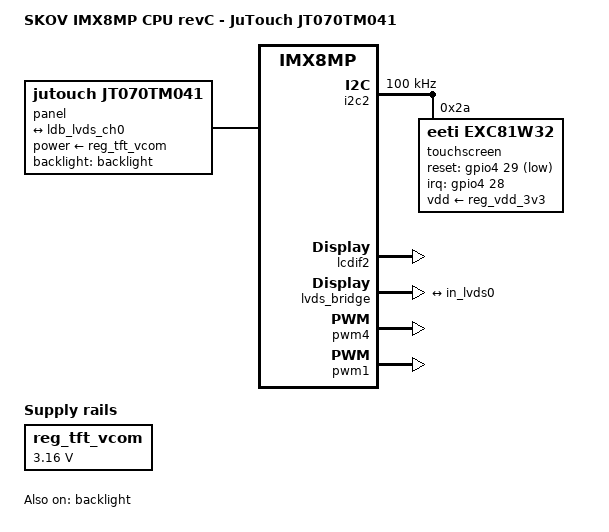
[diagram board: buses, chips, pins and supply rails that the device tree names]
// SPDX-License-Identifier: (GPL-2.0 OR MIT)

/dts-v1/;

#include "imx8mp-skov-reva.dtsi"

/ {
	model = "SKOV IMX8MP CPU revC - JuTouch JT070TM041";
	compatible = "skov,imx8mp-skov-revc-jutouch-jt070tm041", "fsl,imx8mp";

	panel {
		compatible = "jutouch,jt070tm041";
		backlight = <&backlight>;
		power-supply = <&reg_tft_vcom>;

		port {
			in_lvds0: endpoint {
				remote-endpoint = <&ldb_lvds_ch0>;
			};
		};
	};
};

&backlight {
	status = "okay";
};

&i2c2 {
	clock-frequency = <100000>;
	status = "okay";

	touchscreen@2a {
		compatible = "eeti,exc81w32";
		reg = <0x2a>;
		pinctrl-names = "default";
		pinctrl-0 = <&pinctrl_touchscreen>;
		interrupts-extended = <&gpio4 28 IRQ_TYPE_LEVEL_LOW>;
		reset-gpios = <&gpio4 29 GPIO_ACTIVE_LOW>;
		touchscreen-size-x = <1024>;
		touchscreen-size-y = <600>;
		vdd-supply = <&reg_vdd_3v3>;
	};
};

&lcdif2 {
	status = "okay";
};

&lvds_bridge {
	assigned-clocks = <&clk IMX8MP_CLK_MEDIA_LDB>,
				 <&clk IMX8MP_VIDEO_PLL1>;
	assigned-clock-parents = <&clk IMX8MP_VIDEO_PLL1_OUT>;
	/* IMX8MP_VIDEO_PLL1 = IMX8MP_CLK_MEDIA_DISP2_PIX * 2 * 7 */
	assigned-clock-rates = <0>, <358400000>;
	status = "okay";

	ports {
		port@1 {
			ldb_lvds_ch0: endpoint {
				remote-endpoint = <&in_lvds0>;
			};
		};
	};
};

&pwm4 {
	status = "okay";
};

&pwm1 {
	status = "okay";
};

&reg_tft_vcom {
	regulator-min-microvolt = <3160000>;
	regulator-max-microvolt = <3160000>;
	voltage-table = <3160000 73>;
	status = "okay";
};
